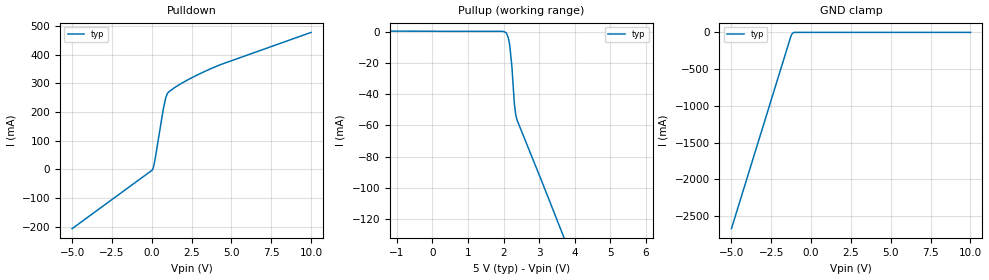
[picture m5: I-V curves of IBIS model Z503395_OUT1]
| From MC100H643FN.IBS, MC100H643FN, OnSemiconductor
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| (C) COPYRIGHT 1993-2000
| MENTOR GRAPHICS CORPORATION
| ICX STANDARD LIBRARY, ICX PROJECT MODELING,
| ICX CUSTOM MODELING, ICX VENDOR MODEL
| ALL RIGHTS RESERVED.
| THE FOLLOWING ARE TRADEMARKS OR SERVICE MARKS OF
| MENTOR GRAPHICS CORPORATION:ICX (R), ICX STANDARD
| LIBRARY(R), ICX PROJECT MODELING(R), ICX CUSTOM
| MODELING(R), qualityIBIS(TM), MODELVIEWER(TM),
| AND MODELEDITOR(TM)
| ALL COPIES OF SOFTWARE, INCLUDING BUT NOT LIMITED TO
| ANY MODIFICATIONS, ENHANCEMENTS OR DERIVATIVE WORKS,
| MUST CONTAIN ALL MENTOR GRAPHICS CORPORATION'S
| NOTICES AND LEGENDS, INCLUDING THOSE EMBEDDED IN
| SOFTWARE AND THOSE AFFIXED TO SOFTWARE MEDIUM
| AND CONTAINER, AS RECEIVED FROM MENTOR GRAPHICS
| CORPORATION.
| Model Application Version 1.89 2/18/99.
[Model] Z503395_OUT1
Model_type Output
Vref=0.000V
Rref=500.0ohms
Cref=50.00pF
Vmeas=1.500V
C_comp 8.000pF NA NA
| variable typ   min   max
[Voltage Range] 5.000V NA NA
[POWER Clamp Reference] 5.000V NA NA
[Pullup Reference] 5.000V NA NA
[Pulldown Reference] 0.000V NA NA
[GND Clamp Reference] 0.000V NA NA
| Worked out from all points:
|   slope of the pulldown table from 0 to 0.75 V, typ, clamps not added: 3.4 ohm
|   slope of the pullup table from 0 to 0.75 V, typ, clamps not added: 25.1 kohm
|   GND clamp passes 1 mA (typ) near -1.09 V on its own axis
[GND Clamp]
-5V       -2.669A    NA         NA
-1.26V    -46.46mA   NA         NA
-1.218V   -28.2mA    NA         NA
-1.162V   -11.9mA    NA         NA
-1.085V   0A         NA         NA
10V       0A         NA         NA
[Pulldown]
-5V       -206.7mA   NA         NA
29.83mV   -2.717mA   NA         NA
82.97mV   3.332mA    NA         NA
136.4mV   14.21mA    NA         NA
224.5mV   40.49mA    NA         NA
717.8mV   208mA      NA         NA
874mV     248.7mA    NA         NA
977.4mV   263.9mA    NA         NA
1.07V     269.9mA    NA         NA
2.28V     312.3mA    NA         NA
4.319V    364.8mA    NA         NA
10V       477mA      NA         NA
[Pullup]
-5V       725.6uA    NA         NA
2.021V    -31.11uA   NA         NA
2.079V    -794.6uA   NA         NA
2.134V    -3.778mA   NA         NA
2.173V    -8.228mA   NA         NA
2.236V    -22.28mA   NA         NA
2.305V    -45.94mA   NA         NA
2.344V    -53.19mA   NA         NA
2.378V    -56.43mA   NA         NA
3.115V    -97.99mA   NA         NA
10V       -495.8mA   NA         NA
[POWER Clamp]
-5V       0A         NA         NA
10V       0A         NA         NA
[Ramp]
| variable typ min max
dV/dt_r 1.678/744.6p NA NA
dV/dt_f 1.678/684.6p NA NA
R_load = 500.0Ohms
